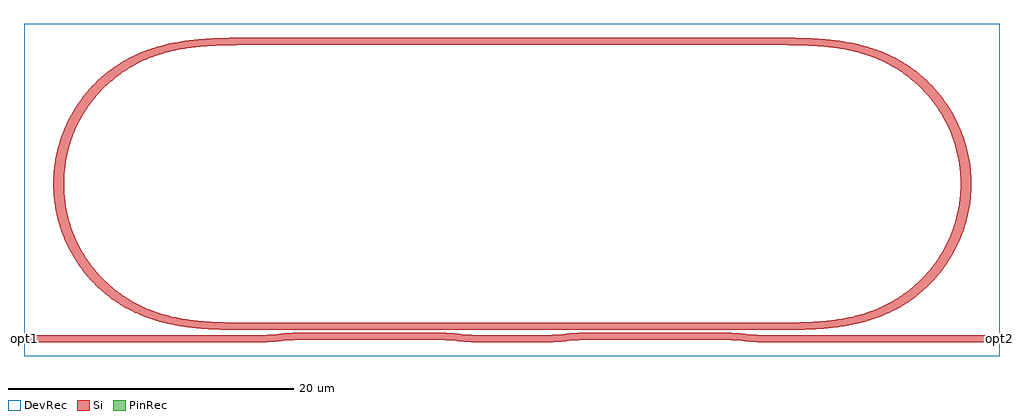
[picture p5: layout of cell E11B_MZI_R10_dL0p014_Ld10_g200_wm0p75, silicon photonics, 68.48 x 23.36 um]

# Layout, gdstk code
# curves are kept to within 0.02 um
import gdstk
lib = gdstk.Library(unit=1e-6, precision=1e-09)
def R(c, l, rs):  # rectangles x0, y0, x1, y1
    for r in rs: c.add(gdstk.rectangle(r[:2], r[2:], *l))
def P(c, l, *ps):  # polygons
    for p in ps: c.add(gdstk.Polygon(p, *l))
Si = (1, 0)
PinRec = (1, 10)
DevRec = (68, 0)

c__e11bring_r10p000_lc34p0 = lib.new_cell('_E11Bring_R10p000_Lc34p055_w0p500_wm0p750_tp30')
R(c__e11bring_r10p000_lc34p0, Si, [(-17.028,-10.25,17.028,-9.75), (-17.028,9.75,17.028,10.25)])
P(c__e11bring_r10p000_lc34p0, Si, [(-18.189,-10.25),(-21.173,-10.193),(-22.331,-10.105),(-23.317,-9.976),(-24.293,-9.783),(-25.093,-9.565),(-25.875,-9.289),(-26.633,-8.954),(-27.496,-8.475),(-28.166,-8.02),(-28.918,-7.404),(-29.607,-6.719),(-30.225,-5.969),(-30.683,-5.301),(-31.085,-4.598),(-31.49,-3.715),(-31.808,-2.797),(-32.063,-1.693),(-32.181,-0.728),(-32.205,0.243),(-32.134,1.212),(-31.969,2.17),(-31.712,3.107),(-31.365,4.014),(-30.931,4.884),(-30.415,5.707),(-29.821,6.476),(-29.155,7.184),(-28.424,7.823),(-27.633,8.388),(-26.782,8.88),(-25.875,9.29),(-24.935,9.613),(-23.807,9.888),(-22.496,10.088),(-21.173,10.193),(-19.681,10.24),(-17.028,10.25),(-17.028,9.75),(-19.546,9.741),(-21.277,9.678),(-22.842,9.515),(-24.077,9.271),(-24.833,9.054),(-25.426,8.841),(-26.004,8.591),(-26.564,8.304),(-27.097,7.986),(-27.605,7.636),(-28.547,6.84),(-28.978,6.398),(-29.474,5.807),(-29.921,5.179),(-30.24,4.651),(-30.591,3.964),(-30.83,3.395),(-31.032,2.812),(-31.23,2.066),(-31.345,1.46),(-31.432,0.694),(-31.457,-0.077),(-31.42,-0.847),(-31.345,-1.46),(-31.195,-2.216),(-31.032,-2.811),(-30.774,-3.538),(-30.457,-4.242),(-30.004,-5.048),(-29.474,-5.807),(-28.978,-6.398),(-28.322,-7.05),(-27.728,-7.543),(-27.097,-7.986),(-26.426,-8.379),(-25.572,-8.781),(-24.683,-9.101),(-23.617,-9.376),(-22.686,-9.537),(-21.591,-9.655),(-20.491,-9.717),(-17.028,-9.75),(-17.028,-10.25)],
  [(17.028,-10.25),(17.028,-9.75),(19.704,-9.738),(21.277,-9.678),(22.686,-9.537),(23.924,-9.307),(24.833,-9.053),(25.717,-8.72),(26.564,-8.304),(27.354,-7.815),(28.206,-7.152),(28.978,-6.398),(29.659,-5.56),(30.315,-4.515),(30.774,-3.538),(31.158,-2.366),(31.387,-1.154),(31.457,-0.077),(31.405,1.001),(31.23,2.066),(30.936,3.105),(30.457,4.242),(29.921,5.179),(29.182,6.167),(28.322,7.05),(27.48,7.726),(26.701,8.227),(25.861,8.657),(24.983,9.004),(23.924,9.308),(22.53,9.559),(21.277,9.678),(19.546,9.741),(17.028,9.75),(17.028,10.25),(20.842,10.209),(22.166,10.122),(22.989,10.026),(23.97,9.855),(24.935,9.613),(25.875,9.29),(26.782,8.88),(27.633,8.388),(28.424,7.823),(29.155,7.184),(29.821,6.476),(30.415,5.707),(30.931,4.884),(31.365,4.014),(31.712,3.107),(31.969,2.17),(32.134,1.212),(32.205,0.243),(32.168,-0.89),(32.034,-1.852),(31.808,-2.797),(31.49,-3.715),(31.085,-4.598),(30.596,-5.438),(30.127,-6.098),(29.607,-6.719),(28.918,-7.404),(28.166,-8.02),(27.496,-8.475),(26.633,-8.954),(25.875,-9.289),(25.093,-9.565),(24.293,-9.783),(23.317,-9.976),(22.331,-10.105),(20.345,-10.226)])

e11b_mzi_r10_dl0p014_ld1 = lib.new_cell('E11B_MZI_R10_dL0p014_Ld10_g200_wm0p75')
R(e11b_mzi_r10_dl0p014_ld1, Si, [(-1,-0.25,0,0.25), (0,-0.25,15.7,0.25), (30.755,-0.25,35.755,0.25), (50.81,-0.25,66.463,0.25), (66.463,-0.25,67.463,0.25), (18.228,-0.09,28.228,0.41), (38.283,-0.09,48.283,0.41)])
P(e11b_mzi_r10_dl0p014_ld1, Si, [(30.755,-0.25),(30.199,-0.235),(29.46,-0.168),(29.523,0.328),(30.755,0.25)],
  [(50.81,-0.25),(50.254,-0.235),(49.515,-0.168),(49.578,0.328),(50.81,0.25)],
  [(37.05,-0.168),(36.987,0.328),(37.726,0.395),(38.283,0.41),(38.283,-0.09)],
  [(35.755,-0.25),(35.755,0.25),(36.987,0.328),(37.05,-0.168),(36.311,-0.235)],
  [(29.46,-0.168),(28.228,-0.09),(28.228,0.41),(28.784,0.395),(29.523,0.328)],
  [(16.995,-0.168),(16.932,0.328),(17.671,0.395),(18.228,0.41),(18.228,-0.09)],
  [(49.515,-0.168),(48.283,-0.09),(48.283,0.41),(48.839,0.395),(49.578,0.328)],
  [(15.7,-0.25),(15.7,0.25),(16.932,0.328),(16.995,-0.168),(16.256,-0.235)])
R(e11b_mzi_r10_dl0p014_ld1, DevRec, [(-1,-1.25,67.463,22.11)])
e11b_mzi_r10_dl0p014_ld1.add(gdstk.FlexPath([(67.453,0),(67.473,0)], 0.5, ends="flush", simple_path=True, layer=1, datatype=10))  # PinRec
e11b_mzi_r10_dl0p014_ld1.add(gdstk.FlexPath([(-0.99,0),(-1.01,0)], 0.5, ends="flush", simple_path=True, layer=1, datatype=10))  # PinRec
e11b_mzi_r10_dl0p014_ld1.add(gdstk.Reference(c__e11bring_r10p000_lc34p0, (33.255,10.86)))
e11b_mzi_r10_dl0p014_ld1.add(gdstk.Label('opt2', (67.463,0), layer=1, texttype=10))
e11b_mzi_r10_dl0p014_ld1.add(gdstk.Label('opt1', (-1,0), layer=1, texttype=10))

lib.write_gds('E11B_MZI_R10_dL0p014_Ld10_g200_wm0p75.gds')
